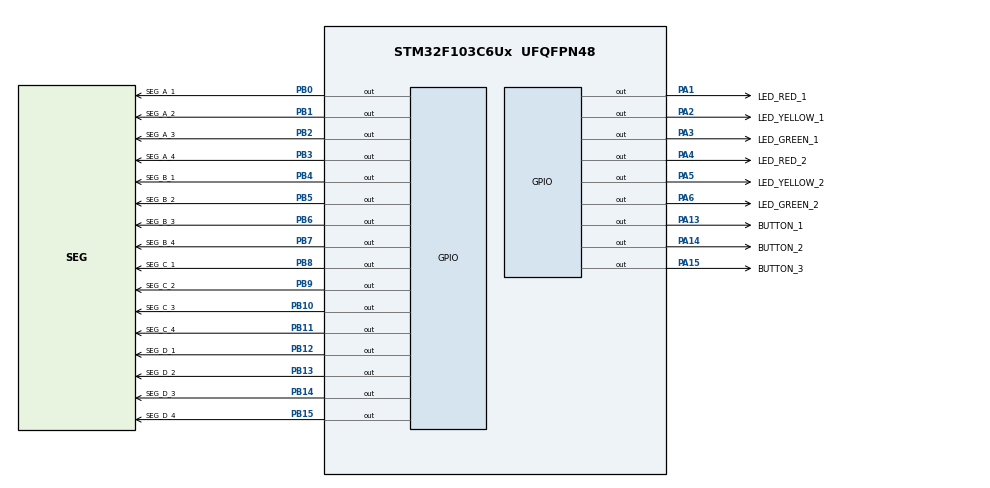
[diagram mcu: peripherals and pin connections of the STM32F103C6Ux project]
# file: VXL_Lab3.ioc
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Mcu.Family=STM32F1
Mcu.Name=STM32F103C6Ux
Mcu.Package=UFQFPN48
NVIC.PriorityGroup=NVIC_PRIORITYGROUP_4
NVIC.TIM2_IRQn=true\:0\:0\:false\:false\:true\:true\:true\:true
PA1.GPIO_Label=LED_RED_1
PA1.Signal=GPIO_Output
PA13.GPIO_Label=BUTTON_1
PA13.Signal=GPIO_Output
PA14.GPIO_Label=BUTTON_2
PA14.Signal=GPIO_Output
PA15.GPIO_Label=BUTTON_3
PA15.Signal=GPIO_Output
PA2.GPIO_Label=LED_YELLOW_1
PA2.Signal=GPIO_Output
PA3.GPIO_Label=LED_GREEN_1
PA3.Signal=GPIO_Output
PA4.GPIO_Label=LED_RED_2
PA4.Signal=GPIO_Output
PA5.GPIO_Label=LED_YELLOW_2
PA5.Signal=GPIO_Output
PA6.GPIO_Label=LED_GREEN_2
PA6.Signal=GPIO_Output
PB0.GPIO_Label=SEG_A_1
PB0.Signal=GPIO_Output
PB1.GPIO_Label=SEG_A_2
PB1.Signal=GPIO_Output
PB10.GPIO_Label=SEG_C_3
PB10.Signal=GPIO_Output
PB11.GPIO_Label=SEG_C_4
PB11.Signal=GPIO_Output
PB12.GPIO_Label=SEG_D_1
PB12.Signal=GPIO_Output
PB13.GPIO_Label=SEG_D_2
PB13.Signal=GPIO_Output
PB14.GPIO_Label=SEG_D_3
PB14.Signal=GPIO_Output
PB15.GPIO_Label=SEG_D_4
PB15.Signal=GPIO_Output
PB2.GPIO_Label=SEG_A_3
PB2.Signal=GPIO_Output
PB3.GPIO_Label=SEG_A_4
PB3.Signal=GPIO_Output
PB4.GPIO_Label=SEG_B_1
PB4.Signal=GPIO_Output
PB5.GPIO_Label=SEG_B_2
PB5.Signal=GPIO_Output
PB6.GPIO_Label=SEG_B_3
PB6.Signal=GPIO_Output
PB7.GPIO_Label=SEG_B_4
PB7.Signal=GPIO_Output
PB8.GPIO_Label=SEG_C_1
PB8.Signal=GPIO_Output
PB9.GPIO_Label=SEG_C_2
PB9.Signal=GPIO_Output
ProjectManager.HeapSize=0x200
ProjectManager.StackSize=0x400
ProjectManager.TargetToolchain=STM32CubeIDE
RCC.APB1Freq_Value=8000000
RCC.APB2Freq_Value=8000000
TIM2.Period=9
TIM2.Prescaler=7999
VP_SYS_VS_ND.Mode=No_Debug
VP_TIM2_VS_ClockSourceINT.Mode=Internal
board=custom

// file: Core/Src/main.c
/* USER CODE BEGIN Header */
/**
  ******************************************************************************
  * @file           : main.c
  * @brief          : Main program body
  ******************************************************************************
  * @attention
  *
  * Copyright (c) 2024 STMicroelectronics.
  * All rights reserved.
  *
  * This software is licensed under terms that can be found in the LICENSE file
  * in the root directory of this software component.
  * If no LICENSE file comes with this software, it is provided AS-IS.
  *
  ******************************************************************************
  */
/* USER CODE END Header */
#include "main.h"

/* USER CODE BEGIN Includes */
#include "global.h"
#include "software_timer.h"
#include "button.h"
#include "fsm_automatic.h"
#include "fsm_manual.h"
#include "traffic_light.h"
#include "led_displayer.h"
/* USER CODE END Includes */

TIM_HandleTypeDef htim2;

void SystemClock_Config(void);
static void MX_GPIO_Init(void);
static void MX_TIM2_Init(void);

int main(void)
{

  /* MCU Configuration--------------------------------------------------------*/

  /* Reset of all peripherals, Initializes the Flash interface and the Systick. */
  HAL_Init();

  /* Configure the system clock */
  SystemClock_Config();

  /* Initialize all configured peripherals */
  MX_GPIO_Init();
  MX_TIM2_Init();
  /* USER CODE BEGIN 2 */
  HAL_TIM_Base_Start_IT(&htim2);
  /* USER CODE END 2 */

  /* Infinite loop */
  /* USER CODE BEGIN WHILE */
  setTimer1(10);
  setTimer2(10);
  setTimer3(10);
  clearAllButtons();
  initValues();
  while (1)
  {
    /* USER CODE END WHILE */

    /* USER CODE BEGIN 3 */
	  fsm_manual_run();

  }
  /* USER CODE END 3 */
}

void SystemClock_Config(void)
{
  RCC_OscInitTypeDef RCC_OscInitStruct = {0};
  RCC_ClkInitTypeDef RCC_ClkInitStruct = {0};

  /** Initializes the RCC Oscillators according to the specified parameters
  * in the RCC_OscInitTypeDef structure.
  */
  RCC_OscInitStruct.OscillatorType = RCC_OSCILLATORTYPE_HSI;
  RCC_OscInitStruct.HSIState = RCC_HSI_ON;
  RCC_OscInitStruct.HSICalibrationValue = RCC_HSICALIBRATION_DEFAULT;
  RCC_OscInitStruct.PLL.PLLState = RCC_PLL_NONE;
  if (HAL_RCC_OscConfig(&RCC_OscInitStruct) != HAL_OK)
  {
    Error_Handler();
  }

  /** Initializes the CPU, AHB and APB buses clocks
  */
  RCC_ClkInitStruct.ClockType = RCC_CLOCKTYPE_HCLK|RCC_CLOCKTYPE_SYSCLK
                              |RCC_CLOCKTYPE_PCLK1|RCC_CLOCKTYPE_PCLK2;
  RCC_ClkInitStruct.SYSCLKSource = RCC_SYSCLKSOURCE_HSI;
  RCC_ClkInitStruct.AHBCLKDivider = RCC_SYSCLK_DIV1;
  RCC_ClkInitStruct.APB1CLKDivider = RCC_HCLK_DIV1;
  RCC_ClkInitStruct.APB2CLKDivider = RCC_HCLK_DIV1;

  if (HAL_RCC_ClockConfig(&RCC_ClkInitStruct, FLASH_LATENCY_0) != HAL_OK)
  {
    Error_Handler();
  }
}

static void MX_TIM2_Init(void)
{

  TIM_ClockConfigTypeDef sClockSourceConfig = {0};
  TIM_MasterConfigTypeDef sMasterConfig = {0};

  htim2.Instance = TIM2;
  htim2.Init.Prescaler = 7999;
  htim2.Init.CounterMode = TIM_COUNTERMODE_UP;
  htim2.Init.Period = 9;
  htim2.Init.ClockDivision = TIM_CLOCKDIVISION_DIV1;
  htim2.Init.AutoReloadPreload = TIM_AUTORELOAD_PRELOAD_DISABLE;
  if (HAL_TIM_Base_Init(&htim2) != HAL_OK)
  {
    Error_Handler();
  }
  sClockSourceConfig.ClockSource = TIM_CLOCKSOURCE_INTERNAL;
  if (HAL_TIM_ConfigClockSource(&htim2, &sClockSourceConfig) != HAL_OK)
  {
    Error_Handler();
  }
  sMasterConfig.MasterOutputTrigger = TIM_TRGO_RESET;
  sMasterConfig.MasterSlaveMode = TIM_MASTERSLAVEMODE_DISABLE;
  if (HAL_TIMEx_MasterConfigSynchronization(&htim2, &sMasterConfig) != HAL_OK)
  {
    Error_Handler();
  }

}

static void MX_GPIO_Init(void)
{
  GPIO_InitTypeDef GPIO_InitStruct = {0};

  /* GPIO Ports Clock Enable */
  __HAL_RCC_GPIOA_CLK_ENABLE();
  __HAL_RCC_GPIOB_CLK_ENABLE();

  /*Configure GPIO pin Output Level */
  HAL_GPIO_WritePin(GPIOA, LED_RED_1_Pin|LED_YELLOW_1_Pin|LED_GREEN_1_Pin|LED_RED_2_Pin
                          |LED_YELLOW_2_Pin|LED_GREEN_2_Pin|BUTTON_1_Pin|BUTTON_2_Pin
                          |BUTTON_3_Pin, GPIO_PIN_RESET);

  /*Configure GPIO pin Output Level */
  HAL_GPIO_WritePin(GPIOB, SEG_A_1_Pin|SEG_A_2_Pin|SEG_A_3_Pin|SEG_C_3_Pin
                          |SEG_C_4_Pin|SEG_D_1_Pin|SEG_D_2_Pin|SEG_D_3_Pin
                          |SEG_D_4_Pin|SEG_A_4_Pin|SEG_B_1_Pin|SEG_B_2_Pin
                          |SEG_B_3_Pin|SEG_B_4_Pin|SEG_C_1_Pin|SEG_C_2_Pin, GPIO_PIN_RESET);

  /*Configure GPIO pins : LED_RED_1_Pin LED_YELLOW_1_Pin LED_GREEN_1_Pin LED_RED_2_Pin
                           LED_YELLOW_2_Pin LED_GREEN_2_Pin BUTTON_1_Pin BUTTON_2_Pin
                           BUTTON_3_Pin */
  GPIO_InitStruct.Pin = LED_RED_1_Pin|LED_YELLOW_1_Pin|LED_GREEN_1_Pin|LED_RED_2_Pin
                          |LED_YELLOW_2_Pin|LED_GREEN_2_Pin|BUTTON_1_Pin|BUTTON_2_Pin
                          |BUTTON_3_Pin;
  GPIO_InitStruct.Mode = GPIO_MODE_OUTPUT_PP;
  GPIO_InitStruct.Pull = GPIO_NOPULL;
  GPIO_InitStruct.Speed = GPIO_SPEED_FREQ_LOW;
  HAL_GPIO_Init(GPIOA, &GPIO_InitStruct);

  /*Configure GPIO pins : SEG_A_1_Pin SEG_A_2_Pin SEG_A_3_Pin SEG_C_3_Pin
                           SEG_C_4_Pin SEG_D_1_Pin SEG_D_2_Pin SEG_D_3_Pin
                           SEG_D_4_Pin SEG_A_4_Pin SEG_B_1_Pin SEG_B_2_Pin
                           SEG_B_3_Pin SEG_B_4_Pin SEG_C_1_Pin SEG_C_2_Pin */
  GPIO_InitStruct.Pin = SEG_A_1_Pin|SEG_A_2_Pin|SEG_A_3_Pin|SEG_C_3_Pin
                          |SEG_C_4_Pin|SEG_D_1_Pin|SEG_D_2_Pin|SEG_D_3_Pin
                          |SEG_D_4_Pin|SEG_A_4_Pin|SEG_B_1_Pin|SEG_B_2_Pin
                          |SEG_B_3_Pin|SEG_B_4_Pin|SEG_C_1_Pin|SEG_C_2_Pin;
  GPIO_InitStruct.Mode = GPIO_MODE_OUTPUT_PP;
  GPIO_InitStruct.Pull = GPIO_NOPULL;
  GPIO_InitStruct.Speed = GPIO_SPEED_FREQ_LOW;
  HAL_GPIO_Init(GPIOB, &GPIO_InitStruct);

}

/* USER CODE BEGIN 4 */
void HAL_TIM_PeriodElapsedCallback(TIM_HandleTypeDef *htim) {
	timerRun();
	getKeyInput();
}
/* USER CODE END 4 */

void Error_Handler(void)
{
  __disable_irq();
  while (1)
  {
  }
}
